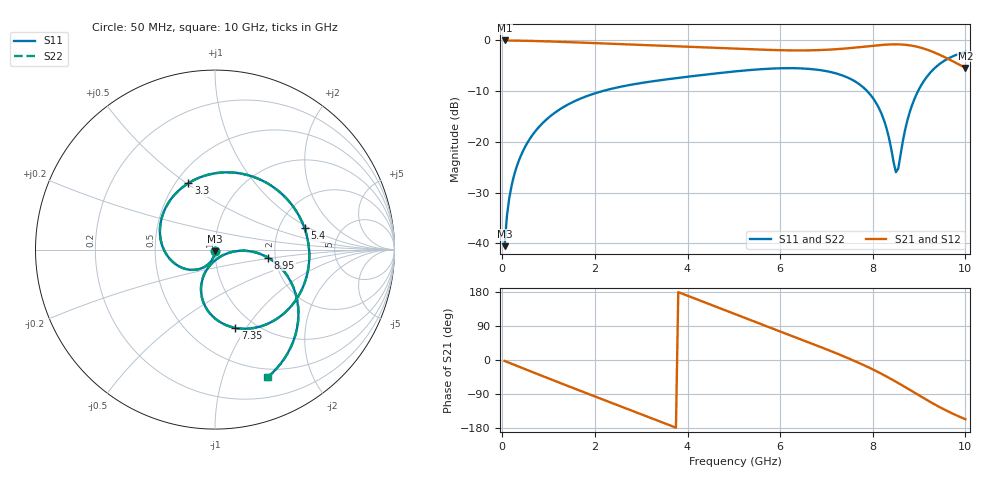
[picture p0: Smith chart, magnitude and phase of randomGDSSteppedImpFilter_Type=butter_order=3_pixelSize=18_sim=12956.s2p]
! freq	dB(S11)	phase(S11)	dB(S12)	phase(S12)
!  dB(S21)	phase(S21)	dB(S22)	phase(S22)
!S-par simulation data
#  GHz  S  DB  R 50
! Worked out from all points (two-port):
!   200 points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, 50 MHz to 10 GHz, reference 50 ohm
!   highest |S21| = 0.00 dB at 50 MHz (marker M1); lowest = -5.4 dB at 10 GHz (marker M2)
!   |S21| within 3 dB of the highest: start of sweep to 9.485 GHz
!   lowest |S11| = -40.6 dB at 50 MHz (marker M3), VSWR 1.02, Z = 50 - j0.935 ohm
!   |S11| at or under -10 dB: start of sweep to 2.161 GHz; 7.879 GHz to 8.978 GHz (1.098 GHz wide, 13 % of centre)
!   |S22| runs from -40.6 to -2.3 dB; largest |S21 - S12| = 0
!   S11 on the Smith chart (normalised r, x): 50 MHz: 1.00, -0.02; 3.3 GHz: 0.58, +0.51; 5.4 GHz: 2.78, +0.90; 7.35 GHz: 0.82, -0.89; 8.95 GHz: 1.83, -0.18; 10 GHz: 0.40, -1.41
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0.05  -40.57 -91.8  -0.00 -2.5  -0.00 -2.5  -40.57 -91.8
0.1  -34.61 -94.6  -0.01 -5.0  -0.01 -5.0  -34.61 -94.6
0.2  -28.66 -99.9  -0.02 -9.8  -0.02 -9.8  -28.66 -99.9
0.5  -20.86 -115.0  -0.07 -24.5  -0.07 -24.5  -20.86 -115.0
1.15  -14.15 -146.6  -0.24 -55.9  -0.24 -55.9  -14.15 -146.6
1.75  -11.24 -175.3  -0.44 -84.4  -0.44 -84.4  -11.24 -175.3
2.45  -9.34 151.7  -0.68 -117.4  -0.68 -117.4  -9.34 151.7
3.3  -7.99 111.8  -0.97 -157.3  -0.97 -157.3  -7.99 111.8
3.4  -7.86 107.1  -1.00 -162.0  -1.00 -162.0  -7.86 107.1
4.15  -7.00 71.8  -1.26 162.5  -1.26 162.5  -7.00 71.7
5.05  -6.09 29.6  -1.61 119.8  -1.61 119.8  -6.09 29.6
5.4  -5.80 13.4  -1.75 103.3  -1.75 103.3  -5.80 13.4
6.7  -5.67 -45.6  -1.94 42.5  -1.94 42.5  -5.67 -45.6
7.35  -6.92 -75.3  -1.64 10.8  -1.64 10.8  -6.92 -75.5
8  -11.32 -105.7  -1.05 -24.8  -1.05 -24.8  -11.33 -106.0
8.35  -19.23 -110.9  -0.80 -47.0  -0.80 -47.0  -19.27 -111.6
8.5  -25.98 -66.9  -0.77 -57.3  -0.77 -57.3  -26.22 -67.2
8.55  -25.28 -35.4  -0.78 -60.8  -0.78 -60.8  -25.49 -34.8
8.75  -15.67 -2.3  -0.91 -75.2  -0.91 -75.2  -15.69 -1.8
8.95  -10.50 -8.6  -1.23 -89.8  -1.23 -89.8  -10.51 -8.4
9.45  -4.60 -37.9  -2.85 -124.7  -2.85 -124.7  -4.60 -37.8
10  -2.28 -67.7  -5.40 -156.4  -5.40 -156.4  -2.28 -67.6
